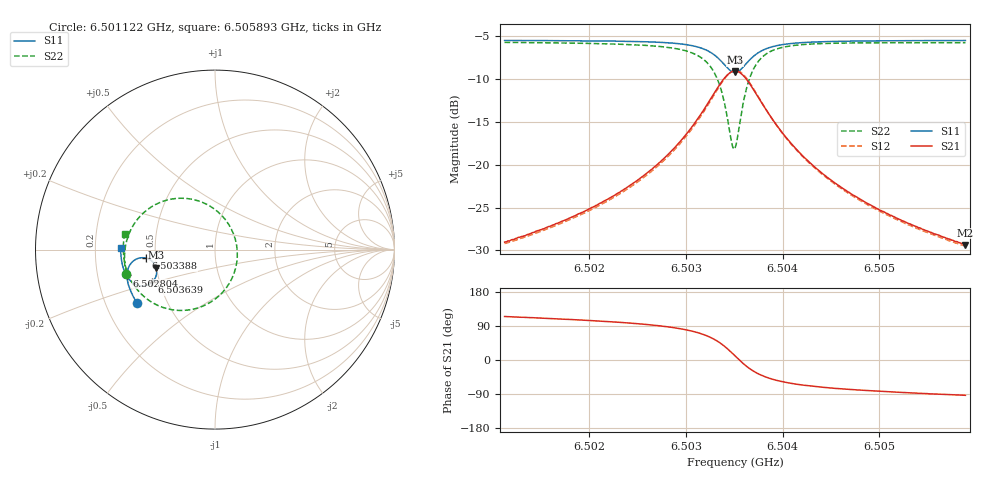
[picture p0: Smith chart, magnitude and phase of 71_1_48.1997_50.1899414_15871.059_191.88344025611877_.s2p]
#  HZ  S  RI  R  50.00
! Rohde & Schwarz Vector Network Analyzer
! Rohde-Schwarz,ZNB20-2Port,1311601062101988,3.16
! Created: UTC 3/20/2024, 11:39:10 AM
! freq[Hz]  re:S11  im:S11  re:S21  im:S21  re:S12  im:S12  re:S22  im:S22
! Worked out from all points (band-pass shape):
!   401 points, 6.501122 GHz to 6.505893 GHz, reference 50 ohm
!   highest |S21| = -9.13 dB at 6.503507 GHz (marker M1); lowest = -29.3 dB at 6.505893 GHz (marker M2)
!   |S21| within 3 dB of the highest: 6.503268 GHz to 6.503746 GHz (477.7 kHz wide, 0.00735 % of centre)
!   lowest |S11| = -9.3 dB at 6.503507 GHz (marker M3), VSWR 2.05, Z = 24.9 - j5.71 ohm
!   |S11| at or under -10 dB: nowhere
!   |S22| runs from -18.2 to -5.8 dB; largest |S21 - S12| = 0.012
!   S11 on the Smith chart (normalised r, x): 6.501122 GHz: 0.34, -0.28; 6.502804 GHz: 0.33, -0.13; 6.503388 GHz: 0.44, -0.05; 6.503639 GHz: 0.45, -0.20; 6.505893 GHz: 0.31, +0.01
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6.501122e9  -0.434 -0.2979  -0.0148 0.0321  -0.013 0.0322  -0.4943 -0.1374
6.5019211e9  -0.4673 -0.2372  -0.0139 0.0507  -0.0114 0.0502  -0.5044 -0.0491
6.5023385e9  -0.4814 -0.1992  -0.0108 0.0697  -0.00787 0.0685  -0.4999 0.0126
6.5027202e9  -0.4898 -0.1555  -0.000674 0.1021  0.00304 0.0996  -0.4773 0.093
6.5028037e9  -0.4901 -0.1439  0.00422 0.1127  0.00806 0.1097  -0.4663 0.1162
6.5030064e9  -0.4852 -0.1098  0.0277 0.1484  0.0315 0.1437  -0.4174 0.1859
6.5031496e9  -0.4704 -0.0796  0.0666 0.1828  0.0692 0.1766  -0.342 0.2454
6.5032927e9  -0.4311 -0.05  0.151 0.2119  0.1516 0.2055  -0.1878 0.2862
6.5033881e9  -0.3832 -0.0476  0.2453 0.1941  0.2453 0.1892  -0.0245 0.24
6.5034716e9  -0.3391 -0.0784  0.3254 0.1165  0.328 0.1122  0.1033 0.0866
6.5035074e9  -0.3279 -0.1012  0.3431 0.0662  0.3469 0.0604  0.1241 -0.00842
6.5035312e9  -0.325 -0.1179  0.3463 0.0303  0.3506 0.0233  0.121 -0.0738
6.503567e9  -0.3274 -0.1429  0.3385 -0.0212  0.3422 -0.0306  0.0918 -0.1656
6.5036386e9  -0.3504 -0.1811  0.2899 -0.0995  0.2896 -0.1115  -0.0231 -0.2919
6.5036863e9  -0.3715 -0.1951  0.2484 -0.1288  0.2453 -0.1406  -0.11 -0.3291
6.5037459e9  -0.3973 -0.202  0.2 -0.1456  0.1943 -0.1558  -0.2053 -0.3387
6.503889e9  -0.4428 -0.1941  0.1185 -0.1425  0.111 -0.1482  -0.3525 -0.293
6.5040679e9  -0.4741 -0.1714  0.0668 -0.1192  0.0602 -0.1216  -0.4361 -0.2194
6.5043065e9  -0.4954 -0.1416  0.0355 -0.0932  0.0304 -0.0937  -0.4809 -0.1445
6.5046643e9  -0.5111 -0.1031  0.0156 -0.0685  0.0122 -0.068  -0.5043 -0.0681
6.5051056e9  -0.5206 -0.0614  0.00533 -0.0508  0.003 -0.0501  -0.5109 -0.00189
6.5058928e9  -0.5261 0.00615  -0.00189 -0.0341  -0.00338 -0.0333  -0.5037 0.0844
